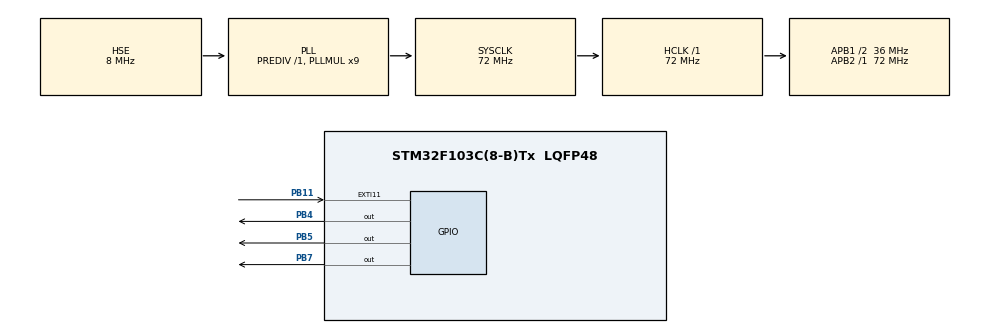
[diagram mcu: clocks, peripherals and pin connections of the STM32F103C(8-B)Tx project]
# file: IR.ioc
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Mcu.Family=STM32F1
Mcu.Name=STM32F103C(8-B)Tx
Mcu.Package=LQFP48
NVIC.EXTI15_10_IRQn=true\:0\:0\:false\:false\:true\:true\:true\:true
NVIC.PriorityGroup=NVIC_PRIORITYGROUP_4
PA13.Mode=Serial_Wire
PA13.Signal=SYS_JTMS-SWDIO
PA14.Mode=Serial_Wire
PA14.Signal=SYS_JTCK-SWCLK
PB11.GPIO_ModeDefaultEXTI=GPIO_MODE_IT_FALLING
PB11.Signal=GPXTI11
PB4.PinState=GPIO_PIN_RESET
PB4.Signal=GPIO_Output
PB5.PinState=GPIO_PIN_RESET
PB5.Signal=GPIO_Output
PB7.PinState=GPIO_PIN_RESET
PB7.Signal=GPIO_Output
PD0-OSC_IN.Mode=HSE-External-Oscillator
PD0-OSC_IN.Signal=RCC_OSC_IN
PD1-OSC_OUT.Mode=HSE-External-Oscillator
PD1-OSC_OUT.Signal=RCC_OSC_OUT
ProjectManager.HeapSize=0x200
ProjectManager.StackSize=0x400
ProjectManager.TargetToolchain=STM32CubeIDE
RCC.AHBFreq_Value=72000000
RCC.APB1CLKDivider=RCC_HCLK_DIV2
RCC.APB1Freq_Value=36000000
RCC.APB1TimFreq_Value=72000000
RCC.APB2Freq_Value=72000000
RCC.APB2TimFreq_Value=72000000
RCC.HCLKFreq_Value=72000000
RCC.PLLMUL=RCC_PLL_MUL9
RCC.PLLSourceVirtual=RCC_PLLSOURCE_HSE
RCC.SYSCLKFreq_VALUE=72000000
RCC.SYSCLKSource=RCC_SYSCLKSOURCE_PLLCLK
RCC.USBFreq_Value=72000000
TIM1.Prescaler=71
VP_TIM1_VS_ClockSourceINT.Mode=Internal
board=custom

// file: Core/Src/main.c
/* USER CODE BEGIN Header */
/**
  ******************************************************************************
  * @file           : main.c
  * @brief          : Main program body
  ******************************************************************************
  * @attention
  *
  * Copyright (c) 2023 STMicroelectronics.
  * All rights reserved.
  *
  * This software is licensed under terms that can be found in the LICENSE file
  * in the root directory of this software component.
  * If no LICENSE file comes with this software, it is provided AS-IS.
  *
  ******************************************************************************
  */
/* USER CODE END Header */
#include "main.h"
#include "tim.h"
#include "gpio.h"

/* USER CODE BEGIN PD */

#define GreenLedPin			GPIO_PIN_7
#define WhiteLedPin			GPIO_PIN_5
#define BlueLedPin			GPIO_PIN_4

#define 	Zero		(0x98)
#define 	One			(0xA2)
#define 	Two			(0x62)
#define 	Three		(0xE2)
#define 	Four		(0x22)
#define 	Five		(0x02)
#define 	Six			(0xC2)
#define 	Seven		(0xE0)
#define 	Eight		(0xA8)
#define 	Nine		(0x90)
#define 	UP			(0x18)
#define 	Down		(0x4A)
#define 	Right		(0x5A)
#define 	Left		(0x10)
#define 	OK			(0x38)
#define 	Astrecs		(0x68)
#define 	Window		(0xb0)

/* USER CODE END PD */

/* USER CODE BEGIN PV */
uint32_t tempCode;
uint8_t bitIndex;
uint8_t cmd;
uint8_t cmdli;
uint8_t code;

uint8_t GreenLedCMD = Two;
uint8_t WhiteLedCMD = Five;
uint8_t BlueLedCMD = Eight;

uint8_t buttonPressed = 0;
uint8_t LedsCounter = 3;

void UpdateLeds();
void ReProgrammingFunction();

/* USER CODE END PV */

void SystemClock_Config(void);

/* USER CODE BEGIN 0 */

void HAL_GPIO_EXTI_Callback(uint16_t GPIO_Pin)
{
  if(GPIO_Pin == GPIO_PIN_11)
  {
    if (__HAL_TIM_GET_COUNTER(&htim1) > 8000)
    {
      tempCode = 0;
      bitIndex = 0;
    }
    else if (__HAL_TIM_GET_COUNTER(&htim1) > 1700)
    {
      tempCode |= (1UL << (31-bitIndex));   // write 1
      bitIndex++;
    }
    else if (__HAL_TIM_GET_COUNTER(&htim1) > 1000)
    {
      tempCode &= ~(1UL << (31-bitIndex));  // write 0
      bitIndex++;
    }
    if(bitIndex == 32)
    {
      cmdli = ~tempCode; // Logical inverted last 8 bits
      cmd = tempCode >> 8; // Second last 8 bits
      if(cmdli == cmd) // Check for errors
      {
        code = tempCode; // If no bit errors

        if(buttonPressed) ReProgrammingFunction();
        else UpdateLeds();

        char snum[10];
        itoa(code, snum, 10);
      }
      bitIndex = 0;
    }
    __HAL_TIM_SET_COUNTER(&htim1, 0);
  }
}

/* USER CODE END 0 */

int main(void)
{

  /* MCU Configuration--------------------------------------------------------*/

  /* Reset of all peripherals, Initializes the Flash interface and the Systick. */
  HAL_Init();

  /* Configure the system clock */
  SystemClock_Config();

  /* Initialize all configured peripherals */

  MX_GPIO_Init();
  MX_TIM1_Init();

  /* USER CODE BEGIN 2 */

	HAL_TIM_Base_Start(&htim1);
	__HAL_TIM_SET_COUNTER(&htim1, 0);

  /* USER CODE END 2 */

  /* Infinite loop */
  while (1)
  {

  }
}

void SystemClock_Config(void)
{
  RCC_OscInitTypeDef RCC_OscInitStruct = {0};
  RCC_ClkInitTypeDef RCC_ClkInitStruct = {0};

  /** Initializes the RCC Oscillators according to the specified parameters
  * in the RCC_OscInitTypeDef structure.
  */
  RCC_OscInitStruct.OscillatorType = RCC_OSCILLATORTYPE_HSE;
  RCC_OscInitStruct.HSEState = RCC_HSE_ON;
  RCC_OscInitStruct.HSEPredivValue = RCC_HSE_PREDIV_DIV1;
  RCC_OscInitStruct.HSIState = RCC_HSI_ON;
  RCC_OscInitStruct.PLL.PLLState = RCC_PLL_ON;
  RCC_OscInitStruct.PLL.PLLSource = RCC_PLLSOURCE_HSE;
  RCC_OscInitStruct.PLL.PLLMUL = RCC_PLL_MUL9;
  if (HAL_RCC_OscConfig(&RCC_OscInitStruct) != HAL_OK)
  {
    Error_Handler();
  }

  /** Initializes the CPU, AHB and APB buses clocks
  */
  RCC_ClkInitStruct.ClockType = RCC_CLOCKTYPE_HCLK|RCC_CLOCKTYPE_SYSCLK
                              |RCC_CLOCKTYPE_PCLK1|RCC_CLOCKTYPE_PCLK2;
  RCC_ClkInitStruct.SYSCLKSource = RCC_SYSCLKSOURCE_PLLCLK;
  RCC_ClkInitStruct.AHBCLKDivider = RCC_SYSCLK_DIV1;
  RCC_ClkInitStruct.APB1CLKDivider = RCC_HCLK_DIV2;
  RCC_ClkInitStruct.APB2CLKDivider = RCC_HCLK_DIV1;

  if (HAL_RCC_ClockConfig(&RCC_ClkInitStruct, FLASH_LATENCY_2) != HAL_OK)
  {
    Error_Handler();
  }
}

/* USER CODE BEGIN 4 */

void UpdateLeds()
{
	if(GreenLedCMD == cmd) HAL_GPIO_TogglePin(GPIOB, GreenLedPin);
	else if(WhiteLedCMD == cmd) HAL_GPIO_TogglePin(GPIOB, WhiteLedPin);
	else if(BlueLedCMD == cmd) HAL_GPIO_TogglePin(GPIOB, BlueLedPin);
	else if(OK == cmd) buttonPressed = 1;
}

void ReProgrammingFunction()
{
	if(LedsCounter == 3)
	{
		GreenLedCMD = cmd;
		LedsCounter--;
	}
	else if(LedsCounter == 2)
	{
		WhiteLedCMD = cmd;
		LedsCounter--;
	}
	else if(LedsCounter == 1)
	{
		BlueLedCMD = cmd;
		LedsCounter = 3;
		buttonPressed = 0;
	}
}

/* USER CODE END 4 */

void Error_Handler(void)
{
  __disable_irq();
  while (1)
  {
  }
}
